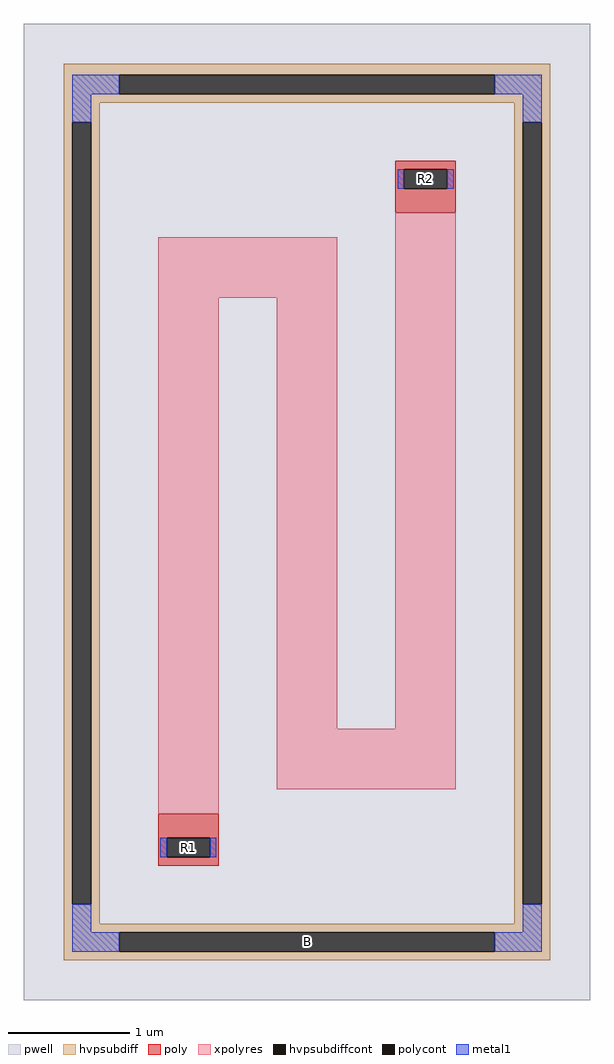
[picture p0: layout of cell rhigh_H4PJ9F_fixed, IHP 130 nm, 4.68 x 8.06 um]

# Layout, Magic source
magic
tech ihp-sg13cmos5l
<< pwell >>
rect -157 636 311 1442
<< hvpsubdiff >>
rect -124 1400 278 1409
rect -124 1384 -78 1400
rect 232 1384 278 1400
rect -124 1377 278 1384
rect -124 1361 -94 1377
rect -124 715 -117 1361
rect -101 715 -94 1361
rect 248 1361 278 1377
rect -124 699 -94 715
rect 248 715 255 1361
rect 271 715 278 1361
rect 248 699 278 715
rect -124 692 278 699
rect -124 676 -78 692
rect 232 676 278 692
rect -124 669 278 676
<< hvpsubdiffcont >>
rect -78 1384 232 1400
rect -117 715 -101 1361
rect 255 715 271 1361
rect -78 676 232 692
<< poly >>
rect 150 1322 200 1329
rect 150 1306 157 1322
rect 193 1306 200 1322
rect 150 1286 200 1306
rect -46 770 4 790
rect -46 754 -39 770
rect -3 754 4 770
rect -46 747 4 754
<< polycont >>
rect 157 1306 193 1322
rect -39 754 -3 770
<< xpolyres >>
rect -46 1216 102 1266
rect -46 790 4 1216
rect 52 860 102 1216
rect 150 860 200 1286
rect 52 810 200 860
<< metal1 >>
rect -117 1384 -78 1400
rect 232 1384 271 1400
rect -117 1361 -101 1384
rect 255 1361 271 1384
rect 152 1306 157 1322
rect 193 1306 198 1322
rect -44 754 -39 770
rect -3 754 2 770
rect -117 692 -101 715
rect 255 692 271 715
rect -117 676 -78 692
rect 232 676 271 692
<< labels >>
rlabel hvpsubdiffcont 77 684 77 684 0 B
port 1 nsew
rlabel polycont -21 762 -21 762 0 R1
port 2 nsew
rlabel polycont 175 1314 175 1314 0 R2
port 3 nsew
<< properties >>
string FIXED_BBOX -109 684 263 1392
string gencell rhigh
string library sg13cmos5l
string MASKHINTS_CONTBAR -46 747 200 1329
string parameters w 0.5 l 4.56 m 1 nx 3 wmin 0.50 lmin 0.50 class resistor rho 1360 val 39.929k dummy 0 dw 0.0 term 0.0 sterm 0.0 caplen 0 bar 1 guard 1 glc 1 grc 1 gtc 1 gbc 1 snake 1 full_metal 1 n_guard 0 hv_guard 1 vias 0 viagb 0 viagt 0 viagl 0 viagr 0 doports 1
<< end >>
